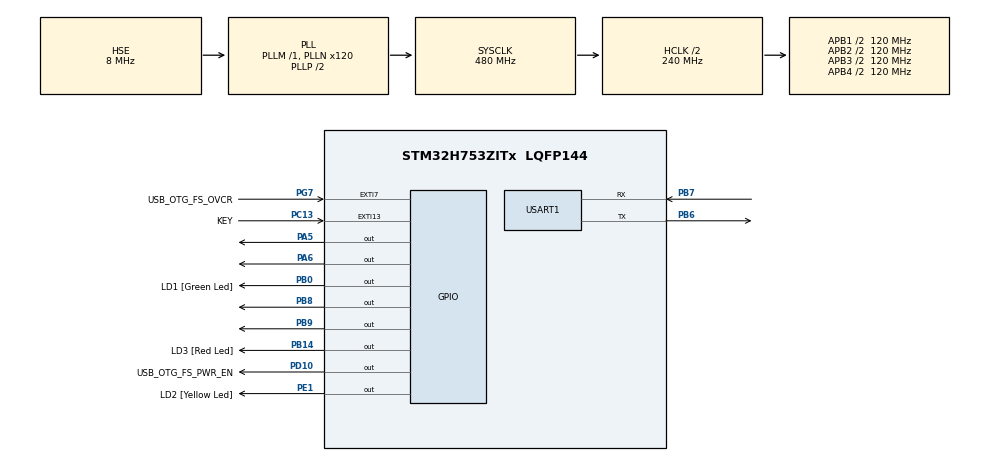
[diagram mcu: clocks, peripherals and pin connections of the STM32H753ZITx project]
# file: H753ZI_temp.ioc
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CORTEX_M7.CPU_DCache=Disabled
CORTEX_M7.CPU_ICache=Disabled
CORTEX_M7.MPU_Control=__NULL
Mcu.Family=STM32H7
Mcu.Name=STM32H753ZITx
Mcu.Package=LQFP144
NVIC.EXTI15_10_IRQn=true\:0\:0\:false\:false\:true\:true\:true\:true
NVIC.EXTI9_5_IRQn=true\:0\:0\:false\:false\:true\:true\:true\:true
NVIC.PriorityGroup=NVIC_PRIORITYGROUP_4
NVIC.USART1_IRQn=true\:0\:0\:false\:false\:true\:true\:true\:true
PA13\ (JTMS/SWDIO).Mode=Serial_Wire
PA13\ (JTMS/SWDIO).Signal=DEBUG_JTMS-SWDIO
PA14\ (JTCK/SWCLK).Mode=Serial_Wire
PA14\ (JTCK/SWCLK).Signal=DEBUG_JTCK-SWCLK
PA5.GPIO_ModeDefaultOutputPP=GPIO_MODE_OUTPUT_OD
PA5.GPIO_PuPd=GPIO_NOPULL
PA5.Signal=GPIO_Output
PA6.GPIO_ModeDefaultOutputPP=GPIO_MODE_OUTPUT_OD
PA6.GPIO_PuPd=GPIO_NOPULL
PA6.Signal=GPIO_Output
PB0.GPIO_Label=LD1 [Green Led]
PB0.GPIO_PuPd=GPIO_NOPULL
PB0.PinState=GPIO_PIN_RESET
PB0.Signal=GPIO_Output
PB14.GPIO_Label=LD3 [Red Led]
PB14.Signal=GPIO_Output
PB6.Mode=Asynchronous
PB6.Signal=USART1_TX
PB7.Mode=Asynchronous
PB7.Signal=USART1_RX
PB8.GPIO_ModeDefaultOutputPP=GPIO_MODE_OUTPUT_OD
PB8.GPIO_PuPd=GPIO_NOPULL
PB8.GPIO_Speed=GPIO_SPEED_FREQ_VERY_HIGH
PB8.Signal=GPIO_Output
PB9.GPIO_ModeDefaultOutputPP=GPIO_MODE_OUTPUT_OD
PB9.GPIO_PuPd=GPIO_NOPULL
PB9.GPIO_Speed=GPIO_SPEED_FREQ_VERY_HIGH
PB9.Signal=GPIO_Output
PC13.GPIO_Label=KEY
PC13.Signal=GPXTI13
PC14-OSC32_IN\ (OSC32_IN).Mode=LSE-External-Oscillator
PC14-OSC32_IN\ (OSC32_IN).Signal=RCC_OSC32_IN
PC15-OSC32_OUT\ (OSC32_OUT).Mode=LSE-External-Oscillator
PC15-OSC32_OUT\ (OSC32_OUT).Signal=RCC_OSC32_OUT
PD10.GPIO_Label=USB_OTG_FS_PWR_EN
PD10.Signal=GPIO_Output
PE1.GPIO_Label=LD2 [Yellow Led]
PE1.Signal=GPIO_Output
PG7.GPIO_Label=USB_OTG_FS_OVCR
PG7.Signal=GPXTI7
PH0-OSC_IN\ (PH0).Mode=HSE-External-Oscillator
PH0-OSC_IN\ (PH0).Signal=RCC_OSC_IN
PH1-OSC_OUT\ (PH1).Mode=HSE-External-Oscillator
PH1-OSC_OUT\ (PH1).Signal=RCC_OSC_OUT
ProjectManager.HeapSize=0x200
ProjectManager.StackSize=0x400
ProjectManager.TargetToolchain=MDK-ARM V5.32
RCC.ADCFreq_Value=16125000
RCC.APB1Freq_Value=120000000
RCC.APB2Freq_Value=120000000
RCC.APB3Freq_Value=120000000
RCC.APB4Freq_Value=120000000
RCC.CortexFreq_Value=480000000
RCC.D1PPRE=RCC_APB3_DIV2
RCC.D2PPRE1=RCC_APB1_DIV2
RCC.D2PPRE2=RCC_APB2_DIV2
RCC.D3PPRE=RCC_APB4_DIV2
RCC.DIVM1=1
RCC.DIVN1=120
RCC.DIVQ1=8
RCC.DIVR1=4
RCC.HCLKFreq_Value=240000000
RCC.HPRE=RCC_HCLK_DIV2
RCC.HSE_VALUE=8000000
RCC.PLL2FRACN=0
RCC.PLL3FRACN=0
RCC.PLLFRACN=0
RCC.PLLSourceVirtual=RCC_PLLSOURCE_HSE
RCC.PWR_Regulator_Voltage_Scale=PWR_REGULATOR_VOLTAGE_SCALE0
RCC.ProductRev=revV
RCC.SYSCLKFreq_VALUE=480000000
RCC.SYSCLKSource=RCC_SYSCLKSOURCE_PLLCLK
RCC.USBFreq_Value=120000000
USART1.VirtualMode-Asynchronous=VM_ASYNC
board=NUCLEO-H753ZI

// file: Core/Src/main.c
/* USER CODE BEGIN Header */
/**
  ******************************************************************************
  * @file           : main.c
  * @brief          : Main program body
  ******************************************************************************
  * @attention
  *
  * Copyright (c) 2024 STMicroelectronics.
  * All rights reserved.
  *
  * This software is licensed under terms that can be found in the LICENSE file
  * in the root directory of this software component.
  * If no LICENSE file comes with this software, it is provided AS-IS.
  *
  ******************************************************************************
  */
/* USER CODE END Header */
#include "main.h"
#include "usart.h"
#include "gpio.h"

/* USER CODE BEGIN Includes */
#include "delay.h"
#include "myusart1.h"
#include "OLED_I2C.h"
/* USER CODE END Includes */

void SystemClock_Config(void);

int main(void)
{

  /* MCU Configuration--------------------------------------------------------*/

  /* Reset of all peripherals, Initializes the Flash interface and the Systick. */
  HAL_Init();

  /* Configure the system clock */
  SystemClock_Config();

  /* Initialize all configured peripherals */
  MX_GPIO_Init();
  MX_USART1_UART_Init();
  /* USER CODE BEGIN 2 */
  delay_init(480);
  MyUSART1_Init(&huart1);
  OLED_Init();
  OLED_CLS();
  OLED_ShowStr(40,3,(unsigned char *)"START",2);

	HAL_GPIO_WritePin(LD1_GPIO_Port, LD1_Pin, GPIO_PIN_SET);
	HAL_GPIO_WritePin(LD2_GPIO_Port, LD2_Pin, GPIO_PIN_SET);
	HAL_GPIO_WritePin(LD3_GPIO_Port, LD3_Pin, GPIO_PIN_SET);
  /* USER CODE END 2 */

  /* Infinite loop */
  /* USER CODE BEGIN WHILE */
  while (1)
  {
	  HAL_GPIO_TogglePin(LD1_GPIO_Port,LD1_Pin);
	  delay_ms(1000);
	  HAL_GPIO_TogglePin(LD2_GPIO_Port,LD2_Pin);
	  delay_ms(1000);
	  HAL_GPIO_TogglePin(LD3_GPIO_Port,LD3_Pin);
	  delay_ms(1000);

    /* USER CODE END WHILE */

  }
}

void SystemClock_Config(void)
{
  RCC_OscInitTypeDef RCC_OscInitStruct = {0};
  RCC_ClkInitTypeDef RCC_ClkInitStruct = {0};

  /** Supply configuration update enable
  */
  HAL_PWREx_ConfigSupply(PWR_LDO_SUPPLY);

  /** Configure the main internal regulator output voltage
  */
  __HAL_PWR_VOLTAGESCALING_CONFIG(PWR_REGULATOR_VOLTAGE_SCALE1);

  while(!__HAL_PWR_GET_FLAG(PWR_FLAG_VOSRDY)) {}

  __HAL_RCC_SYSCFG_CLK_ENABLE();
  __HAL_PWR_VOLTAGESCALING_CONFIG(PWR_REGULATOR_VOLTAGE_SCALE0);

  while(!__HAL_PWR_GET_FLAG(PWR_FLAG_VOSRDY)) {}

  /** Initializes the RCC Oscillators according to the specified parameters
  * in the RCC_OscInitTypeDef structure.
  */
  RCC_OscInitStruct.OscillatorType = RCC_OSCILLATORTYPE_HSE;
  RCC_OscInitStruct.HSEState = RCC_HSE_ON;
  RCC_OscInitStruct.PLL.PLLState = RCC_PLL_ON;
  RCC_OscInitStruct.PLL.PLLSource = RCC_PLLSOURCE_HSE;
  RCC_OscInitStruct.PLL.PLLM = 1;
  RCC_OscInitStruct.PLL.PLLN = 120;
  RCC_OscInitStruct.PLL.PLLP = 2;
  RCC_OscInitStruct.PLL.PLLQ = 8;
  RCC_OscInitStruct.PLL.PLLR = 4;
  RCC_OscInitStruct.PLL.PLLRGE = RCC_PLL1VCIRANGE_3;
  RCC_OscInitStruct.PLL.PLLVCOSEL = RCC_PLL1VCOWIDE;
  RCC_OscInitStruct.PLL.PLLFRACN = 0;
  if (HAL_RCC_OscConfig(&RCC_OscInitStruct) != HAL_OK)
  {
    Error_Handler();
  }

  /** Initializes the CPU, AHB and APB buses clocks
  */
  RCC_ClkInitStruct.ClockType = RCC_CLOCKTYPE_HCLK|RCC_CLOCKTYPE_SYSCLK
                              |RCC_CLOCKTYPE_PCLK1|RCC_CLOCKTYPE_PCLK2
                              |RCC_CLOCKTYPE_D3PCLK1|RCC_CLOCKTYPE_D1PCLK1;
  RCC_ClkInitStruct.SYSCLKSource = RCC_SYSCLKSOURCE_PLLCLK;
  RCC_ClkInitStruct.SYSCLKDivider = RCC_SYSCLK_DIV1;
  RCC_ClkInitStruct.AHBCLKDivider = RCC_HCLK_DIV2;
  RCC_ClkInitStruct.APB3CLKDivider = RCC_APB3_DIV2;
  RCC_ClkInitStruct.APB1CLKDivider = RCC_APB1_DIV2;
  RCC_ClkInitStruct.APB2CLKDivider = RCC_APB2_DIV2;
  RCC_ClkInitStruct.APB4CLKDivider = RCC_APB4_DIV2;

  if (HAL_RCC_ClockConfig(&RCC_ClkInitStruct, FLASH_LATENCY_4) != HAL_OK)
  {
    Error_Handler();
  }
}

/* USER CODE BEGIN 4 */
void HAL_GPIO_EXTI_Callback(uint16_t GPIO_PIN)
{
	static uint16_t num = 0;
	if(KEY_Pin)
	{
		OLED_CLS();
		OLED_ShowInt(40,3,num++,2);
	}
}
/* USER CODE END 4 */

void Error_Handler(void)
{
  __disable_irq();
  while (1)
  {
  }
}
